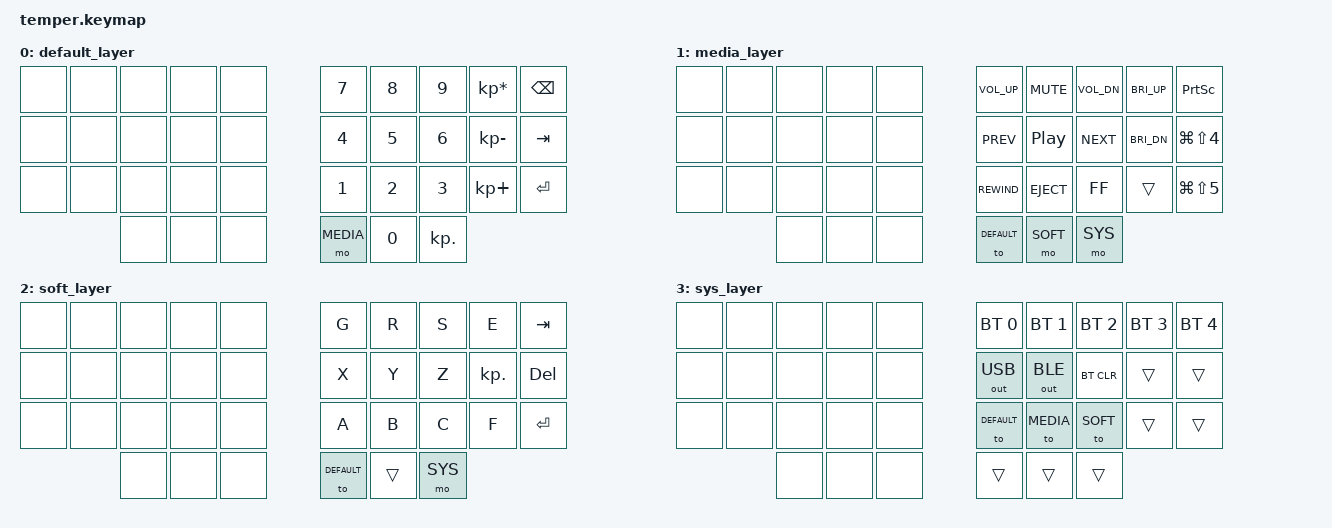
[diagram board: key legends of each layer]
/*
 * Temper Right – Single Hand
 * Matrix 10 cols + col-offset 5; izquierda = &none
 * Capas: 0 Numpad | 1 Media | 2 Soft | 3 System
 */

#include <behaviors.dtsi>
#include <dt-bindings/zmk/keys.h>
#include <dt-bindings/zmk/bt.h>
#include <dt-bindings/zmk/outputs.h>

#define DEFAULT 0
#define MEDIA   1
#define SOFT    2
#define SYS     3

#define ______ &trans

/ {
    keymap {
        compatible = "zmk,keymap";

        default_layer {
            bindings = <
    &none &none &none &none &none    &kp N7 &kp N8 &kp N9 &kp KP_MULTIPLY &kp BSPC
    &none &none &none &none &none    &kp N4 &kp N5 &kp N6 &kp KP_MINUS    &kp TAB
    &none &none &none &none &none    &kp N1 &kp N2 &kp N3 &kp KP_PLUS     &kp RET
              &none &none &none      &mo MEDIA &kp N0 &kp KP_DOT
            >;
        };

        media_layer {
            bindings = <
    &none &none &none &none &none    &kp C_VOL_UP &kp C_MUTE &kp C_VOL_DN &kp C_BRI_UP &kp PSCRN
    &none &none &none &none &none    &kp C_PREV   &kp C_PP   &kp C_NEXT   &kp C_BRI_DN &kp LG(LS(N4))
    &none &none &none &none &none    &kp C_REWIND &kp C_EJECT &kp C_FF    ______       &kp LG(LS(N5))
              &none &none &none      &to DEFAULT  &mo SOFT   &mo SYS
            >;
        };

        soft_layer {
            bindings = <
    &none &none &none &none &none    &kp G &kp R &kp S &kp E &kp TAB
    &none &none &none &none &none    &kp X &kp Y &kp Z &kp KP_DOT &kp DEL
    &none &none &none &none &none    &kp A &kp B &kp C &kp F &kp RET
              &none &none &none      &to DEFAULT ______ &mo SYS
            >;
        };

        sys_layer {
            bindings = <
    &none &none &none &none &none    &bt BT_SEL 0 &bt BT_SEL 1 &bt BT_SEL 2 &bt BT_SEL 3 &bt BT_SEL 4
    &none &none &none &none &none    &out OUT_USB &out OUT_BLE &bt BT_CLR   ______       ______
    &none &none &none &none &none    &to DEFAULT  &to MEDIA    &to SOFT     ______       ______
              &none &none &none      ______ ______ ______
            >;
        };
    };
};
